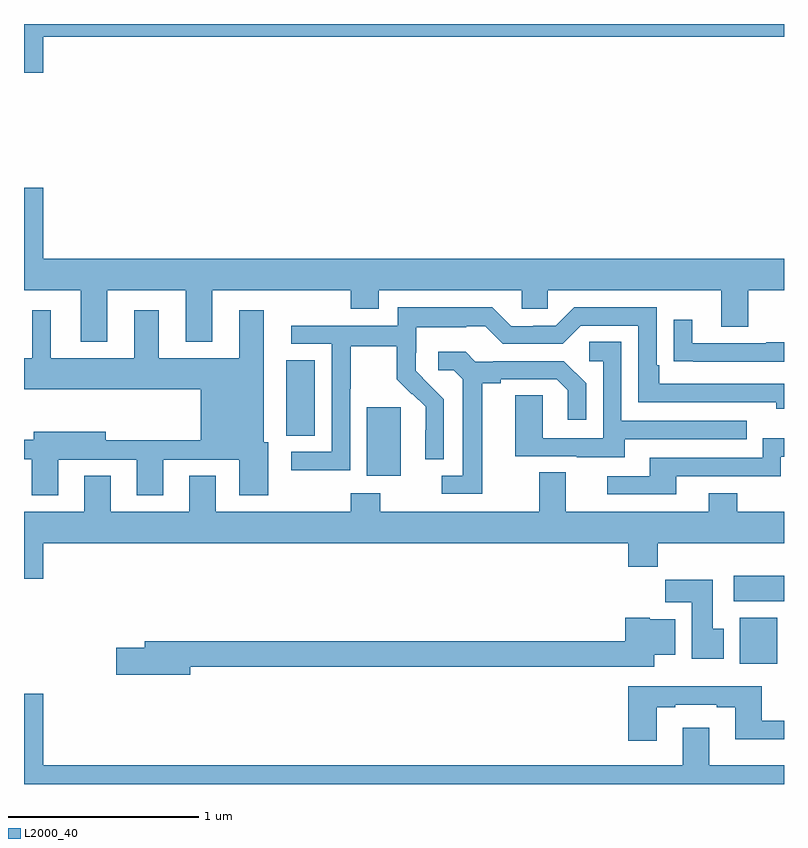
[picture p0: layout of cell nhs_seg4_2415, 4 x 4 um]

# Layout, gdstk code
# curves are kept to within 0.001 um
import gdstk
lib = gdstk.Library(unit=1e-6, precision=1e-09)
def R(c, l, rs):  # rectangles x0, y0, x1, y1
    for r in rs: c.add(gdstk.rectangle(r[:2], r[2:], *l))
def P(c, l, *ps):  # polygons
    for p in ps: c.add(gdstk.Polygon(p, *l))
L2000_40 = (2000, 40)

nhs_seg4_2415 = lib.new_cell('nhs_seg4_2415')
R(nhs_seg4_2415, L2000_40, [(240.767,781.532,240.964,781.774), (240.735,781.862,241,781.996), (238.805,782.522,238.984,782.883), (238.379,782.734,238.531,783.131)])
P(nhs_seg4_2415, L2000_40, [(237.1,784.832),(241,784.832),(241,784.9),(237,784.9),(237,784.644),(237.1,784.644)],
  [(237.439,783.5),(237.851,783.5),(237.851,783.227),(237.991,783.227),(237.991,783.5),(238.72,783.5),(238.72,783.401),(238.867,783.401),(238.867,783.5),(239.619,783.5),(239.619,783.402),(239.757,783.402),(239.757,783.5),(240.671,783.5),(240.671,783.306),(240.811,783.306),(240.811,783.5),(241,783.5),(241,783.664),(237.1,783.664),(237.1,784.039),(237,784.039),(237,783.5),(237.299,783.5),(237.299,783.227),(237.439,783.227)],
  [(238.716,782.98),(238.719,782.98),(238.719,783.204),(238.963,783.204),(238.963,783.029),(239.04,782.952),(239.043,782.955),(239.114,782.885),(239.114,782.762),(239.112,782.762),(239.112,782.608),(239.208,782.608),(239.208,782.926),(239.062,783.074),(239.062,783.171),(239.064,783.171),(239.064,783.305),(239.327,783.305),(239.327,783.309),(239.427,783.309),(239.52,783.216),(239.835,783.216),(239.931,783.312),(240.234,783.312),(240.234,782.91),(240.959,782.91),(240.959,782.876),(241,782.876),(241,783.006),(240.343,783.006),(240.343,783.103),(240.33,783.103),(240.33,783.408),(239.895,783.408),(239.799,783.312),(239.681,783.312),(239.681,783.309),(239.565,783.309),(239.465,783.409),(238.968,783.409),(238.968,783.312),(238.407,783.312),(238.407,783.216),(238.62,783.216),(238.62,782.649),(238.407,782.649),(238.407,782.551),(238.716,782.551)],
  [(237.181,782.607),(237.593,782.607),(237.593,782.421),(237.733,782.421),(237.733,782.607),(238.133,782.607),(238.133,782.421),(238.285,782.421),(238.285,782.7),(238.261,782.7),(238.261,783.394),(238.133,783.394),(238.133,783.142),(237.709,783.142),(237.709,783.394),(237.581,783.394),(237.581,783.142),(237.142,783.142),(237.142,783.394),(237.044,783.394),(237.044,783.142),(237,783.142),(237,782.978),(237.929,782.978),(237.929,782.708),(237.43,782.708),(237.43,782.755),(237.05,782.755),(237.05,782.711),(237,782.711),(237,782.61),(237.041,782.61),(237.041,782.421),(237.181,782.421)],
  [(241,783.224),(240.907,783.224),(240.907,783.219),(240.517,783.219),(240.517,783.343),(240.421,783.343),(240.421,783.124),(240.523,783.124),(240.523,783.123),(241,783.123)],
  [(240.163,782.715),(240.803,782.715),(240.803,782.811),(240.144,782.811),(240.144,783.227),(239.976,783.227),(239.976,783.126),(240.048,783.126),(240.048,782.721),(239.73,782.721),(239.73,782.945),(239.585,782.945),(239.585,782.625),(239.909,782.625),(239.909,782.621),(240.163,782.621)],
  [(239.413,783.008),(239.509,783.008),(239.509,783.03),(239.804,783.03),(239.861,782.973),(239.861,782.817),(239.958,782.817),(239.958,783.01),(239.842,783.126),(239.47,783.126),(239.47,783.123),(239.376,783.123),(239.324,783.175),(239.181,783.175),(239.181,783.078),(239.262,783.078),(239.309,783.031),(239.309,782.523),(239.199,782.523),(239.199,782.427),(239.413,782.427)],
  [(240.433,782.52),(240.984,782.52),(240.984,782.622),(241,782.622),(241,782.719),(240.888,782.719),(240.888,782.616),(240.293,782.616),(240.293,782.52),(240.069,782.52),(240.069,782.424),(240.433,782.424)],
  [(240.179,782.044),(240.335,782.044),(240.335,782.168),(241,782.168),(241,782.332),(240.753,782.332),(240.753,782.431),(240.605,782.431),(240.605,782.332),(239.851,782.332),(239.851,782.54),(239.711,782.54),(239.711,782.332),(238.875,782.332),(238.875,782.431),(238.72,782.431),(238.72,782.332),(238.009,782.332),(238.009,782.522),(237.869,782.522),(237.869,782.332),(237.457,782.332),(237.457,782.522),(237.317,782.522),(237.317,782.332),(237,782.332),(237,781.98),(237.1,781.98),(237.1,782.168),(240.179,782.168)],
  [(240.682,781.716),(240.625,781.716),(240.625,781.975),(240.376,781.975),(240.376,781.856),(240.515,781.856),(240.515,781.56),(240.682,781.56)],
  [(237.874,781.516),(240.316,781.516),(240.316,781.58),(240.427,781.58),(240.427,781.768),(240.294,781.768),(240.294,781.774),(240.164,781.774),(240.164,781.652),(237.635,781.652),(237.635,781.616),(237.486,781.616),(237.486,781.474),(237.874,781.474)],
  [(240.331,781.305),(240.427,781.305),(240.427,781.317),(240.647,781.317),(240.647,781.305),(240.743,781.305),(240.743,781.136),(241,781.136),(241,781.233),(240.883,781.233),(240.883,781.414),(240.179,781.414),(240.179,781.128),(240.331,781.128)],
  [(241,781),(240.607,781),(240.607,781.195),(240.467,781.195),(240.467,781),(237.1,781),(237.1,781.375),(237,781.375),(237,780.9),(241,780.9)])

lib.write_gds('nhs_seg4_2415.gds')
